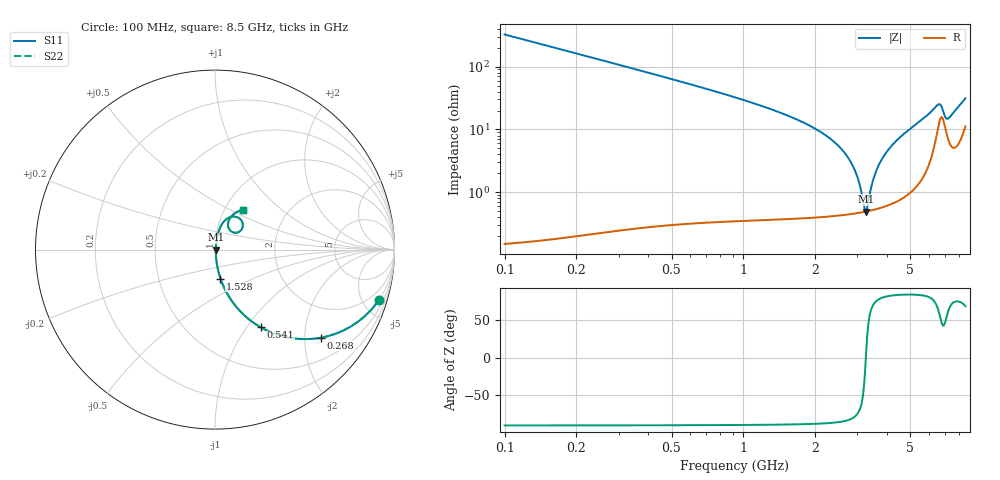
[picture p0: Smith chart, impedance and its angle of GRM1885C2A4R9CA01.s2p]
!Murata Part Number: GRM1885C2A4R9CA01
!These Parameters are Measured in Series Mode Connection
!Data Generated on Mar 30, 2021
!  o--ll--o
!Port1  Port2
!  o------o
!Operation Temp=25[degC], DC Bias Voltage=0[V]
!Freq. Start=100[MHz] Stop=9[GHz] 401[Steps]
# Hz S RI R 50
!Freq.(Hz) S11(Real) S11(Imag) S21(Real) S21(Imag) S12(Real) S12(Imag) S22(Real) S22(Imag)
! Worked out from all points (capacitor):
!   401 points, 100 MHz to 8.5 GHz, reference 50 ohm
!   read as one part in series: C = 4.9 pF near 142 MHz
!   lowest |Z| = 495 mohm at 3.25 GHz (marker M1)
!   series resonance near 3.255 GHz, so ESL is about 490 pH
!   S11 on the Smith chart (normalised r, x): 100 MHz: 1.00, -6.49; 268 MHz: 1.00, -2.41; 541 MHz: 1.01, -1.17; 1.528 GHz: 1.01, -0.33; 8.5 GHz: 1.22, +0.58
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1e8  0.9131 -0.2814  0.0869 0.2814  0.0869 0.2814  0.9131 -0.2814
2.68e8  0.5912 -0.4907  0.4088 0.4907  0.4088 0.4907  0.5912 -0.4907
3.94e8  0.3975 -0.4877  0.6025 0.4877  0.6025 0.4877  0.3975 -0.4877
5.41e8  0.2551 -0.4333  0.7449 0.4333  0.7449 0.4333  0.2551 -0.4333
8.98e8  0.1031 -0.299  0.8969 0.299  0.8969 0.299  0.1031 -0.299
1.507e9  0.0317 -0.1645  0.9683 0.1645  0.9683 0.1645  0.0317 -0.1645
1.528e9  0.0305 -0.1612  0.9695 0.1612  0.9695 0.1612  0.0305 -0.1612
2.431e9  0.00779 -0.0597  0.9922 0.0597  0.9922 0.0597  0.00779 -0.0597
2.704e9  0.00584 -0.0379  0.9942 0.0379  0.9942 0.0379  0.00584 -0.0379
2.914e9  0.00508 -0.0227  0.9949 0.0227  0.9949 0.0227  0.00508 -0.0227
3.04e9  0.00488 -0.014  0.9951 0.014  0.9951 0.014  0.00488 -0.014
3.208e9  0.00487 -0.00299  0.9951 0.00299  0.9951 0.00299  0.00487 -0.00299
3.25e9  0.00491 -0.000309  0.9951 0.000309  0.9951 0.000309  0.00491 -0.000309
3.292e9  0.00497 0.00235  0.995 -0.00235  0.995 -0.00235  0.00497 0.00235
3.481e9  0.0054 0.014  0.9946 -0.014  0.9946 -0.014  0.0054 0.014
3.649e9  0.00603 0.024  0.994 -0.024  0.994 -0.024  0.00603 0.024
3.922e9  0.00752 0.0397  0.9925 -0.0397  0.9925 -0.0397  0.00752 0.0397
4.3e9  0.0105 0.0608  0.9895 -0.0608  0.9895 -0.0608  0.0105 0.0608
5.707e9  0.0393 0.1426  0.9607 -0.1426  0.9607 -0.1426  0.0393 0.1426
6.568e9  0.1391 0.1712  0.8609 -0.1712  0.8609 -0.1712  0.1391 0.1712
7.114e9  0.0873 0.1041  0.9127 -0.1041  0.9127 -0.1041  0.0873 0.1041
8.5e9  0.1587 0.2208  0.8413 -0.2208  0.8413 -0.2208  0.1587 0.2208
